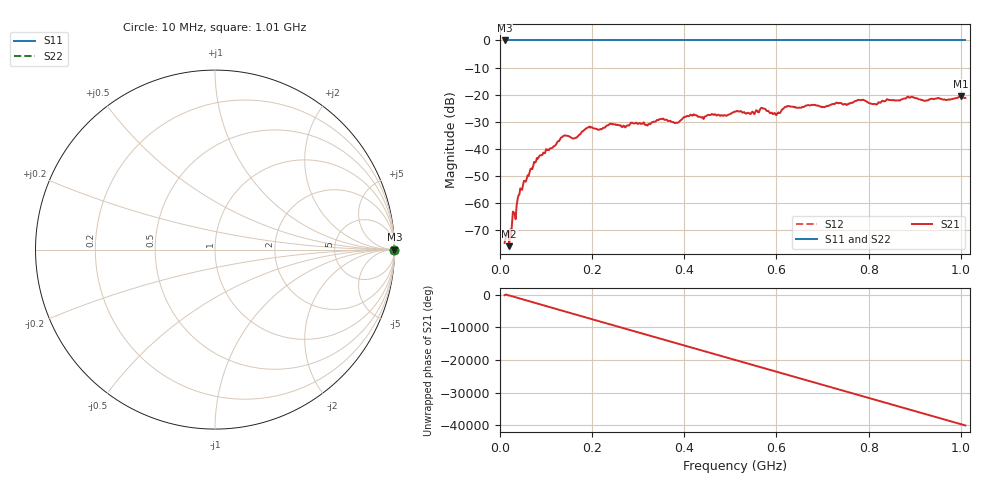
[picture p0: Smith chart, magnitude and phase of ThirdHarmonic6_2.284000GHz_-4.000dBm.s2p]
! 8/17/2025 2:58:53 AM
! C:\ANRITSUVNA\TEMP\TEMP.S2P
! CHANNEL.1
! TR.MEASUREMENT
! RAW.DATA
! RF.CORRECTION.OFF
! AVERAGING.OFF
! IF.BANDWIDTH: 5KHZ
! SWEEPTYPE:  FREQ.SWEEP(Linear)
! Reference Plane Port Info
! PORT:  PORT1  PORT2
! DISTANCE:  0  m  0  m
! TIME:  0  s  0  s
! PHASE.OFFSET:  0  deg.  0  deg.
! LOSS:  0  dB  0  dB
! REF.LOSS:  0  dB  0  dB
! REF.FREQ:  0  Hz  0  Hz
! Power Info
! POWER:  -20  dBm  -20  dBm
! EFF.POWER:  -20  dBm  -20  dBm
! SOURCE.ATTEN:  0  dB  0  dB
! TEST.ATTEN:  0  dB  0  dB
# GHZ S RI R 50.0
! FREQ.GHZ  S11RE  S11IM  S21RE  S21IM  S12RE  S12IM  S22RE  S22IM
!; PortSelection: Port_12
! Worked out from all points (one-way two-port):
!   501 points, 10 MHz to 1.01 GHz, reference 50 ohm
!   highest |S21| = -20.65 dB at 1 GHz (marker M1); lowest = -76.0 dB at 20 MHz (marker M2)
!   lowest |S11| = 0.0 dB at 10 MHz (marker M3)
!   |S11| at or under -10 dB: nowhere
!   |S22| runs from 0.0 to 0.0 dB; largest |S21 - S12| = 1.1
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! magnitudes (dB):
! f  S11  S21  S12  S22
! 10 MHz  0.0  -74.8  0.0  0.0
! 20 MHz  0.0  -76.0  0.0  0.0
! 42 MHz  0.0  -57.0  0.0  0.0
! 78 MHz  0.0  -44.8  0.0  0.0
! 136 MHz  0.0  -35.5  0.0  0.0
! 162 MHz  0.0  -36.1  0.0  0.0
! 178 MHz  0.0  -33.6  0.0  0.0
! 194 MHz  0.0  -31.8  0.0  0.0
! 318 MHz  0.0  -31.1  0.0  0.0
! 344 MHz  0.0  -29.4  0.0  0.0
! 382 MHz  0.0  -30.3  0.0  0.0
! 416 MHz  0.0  -27.7  0.0  0.0
! 510 MHz  0.0  -26.2  0.0  0.0
! 570 MHz  0.0  -25.1  0.0  0.0
! 596 MHz  0.0  -26.8  0.0  0.0
! 622 MHz  0.0  -24.5  0.0  0.0
! 678 MHz  0.0  -23.8  0.0  0.0
! 784 MHz  0.0  -22.0  0.0  0.0
! 814 MHz  0.0  -23.4  0.0  0.0
! 844 MHz  0.0  -22.0  0.0  0.0
! 1 GHz  0.0  -20.7  0.0  0.0
! 1.01 GHz  0.0  -21.2  0.0  0.0
